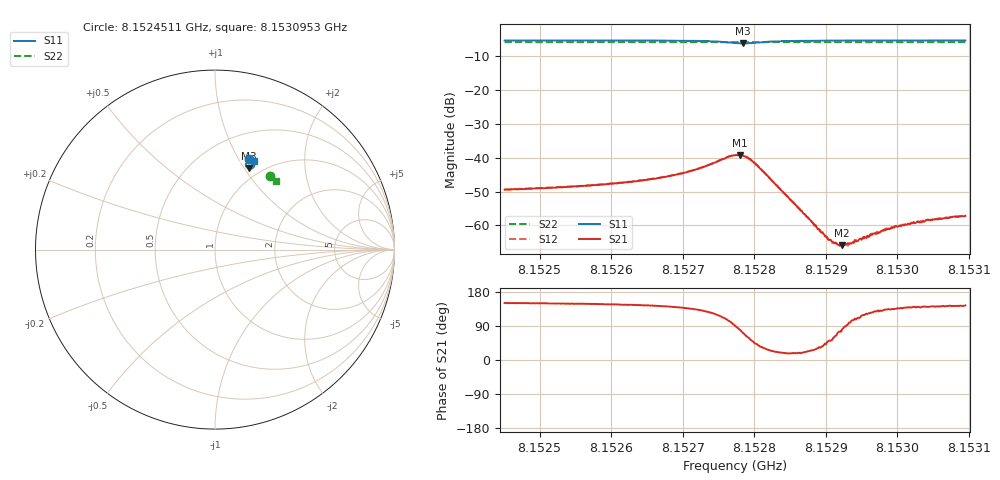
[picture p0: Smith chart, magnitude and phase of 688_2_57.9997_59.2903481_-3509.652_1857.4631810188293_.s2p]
#  HZ  S  RI  R  50.00
! Rohde & Schwarz Vector Network Analyzer
! Rohde-Schwarz,ZNB20-2Port,1311601062101988,3.16
! Created: UTC 3/21/2024, 1:21:09 AM
! freq[Hz]  re:S11  im:S11  re:S21  im:S21  re:S12  im:S12  re:S22  im:S22
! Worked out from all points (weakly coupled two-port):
!   401 points, 8.1524511 GHz to 8.1530953 GHz, reference 50 ohm
!   highest |S21| = -39.20 dB at 8.1527796 GHz (marker M1); lowest = -65.9 dB at 8.1529229 GHz (marker M2)
!   lowest |S11| = -6.2 dB at 8.1527845 GHz (marker M3), VSWR 2.91, Z = 44 + j52.2 ohm
!   |S11| at or under -10 dB: nowhere
!   |S22| runs from -5.9 to -5.8 dB; largest |S21 - S12| = 0.00042
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8.15245109e9  0.1875 0.507  -0.00294 0.00166  -0.00297 0.00174  0.3088 0.4075
8.15255899e9  0.1966 0.5033  -0.00326 0.00201  -0.00325 0.00204  0.3143 0.4031
8.15262502e9  0.2034 0.5  -0.00363 0.00248  -0.00364 0.00251  0.3174 0.4005
8.15266689e9  0.2083 0.4966  -0.00399 0.00304  -0.00399 0.00313  0.3194 0.3986
8.1527152e9  0.2162 0.4881  -0.00457 0.00467  -0.00455 0.00479  0.3219 0.3963
8.15276513e9  0.2133 0.458  -0.00231 0.0103  -0.00213 0.0102  0.3236 0.3933
8.15277318e9  0.2045 0.452  -5.53e-05 0.0109  -3.51e-06 0.011  0.3236 0.3929
8.15277962e9  0.1948 0.4504  0.00192 0.0108  0.00214 0.0107  0.3235 0.3927
8.15278445e9  0.187 0.4519  0.00344 0.0103  0.0036 0.01  0.3235 0.3926
8.15279411e9  0.1752 0.4614  0.00555 0.00787  0.00564 0.00767  0.3237 0.393
8.15280217e9  0.1717 0.4717  0.00594 0.00554  0.00588 0.00533  0.3241 0.3929
8.15283115e9  0.1802 0.4932  0.00366 0.00145  0.00368 0.00136  0.3261 0.3924
8.15288108e9  0.1954 0.4992  0.00101 0.000485  0.00101 0.000471  0.3289 0.3904
8.15290685e9  0.2002 0.4992  0.000386 0.000478  0.000354 0.000456  0.3304 0.3894
8.1529149e9  0.2016 0.4993  0.000232 0.000496  0.000227 0.000484  0.3308 0.3889
8.15292295e9  0.2026 0.499  7.66e-05 0.000502  7.26e-05 0.000547  0.3312 0.3886
8.15293422e9  0.2042 0.4986  -8.37e-05 0.000532  -8.56e-05 0.000541  0.3319 0.3881
8.15295999e9  0.2073 0.4981  -0.000369 0.000568  -0.000365 0.000575  0.333 0.3871
8.15298898e9  0.2105 0.4974  -0.000607 0.000631  -0.000628 0.000691  0.3345 0.3859
8.15304212e9  0.2155 0.4959  -0.000932 0.000785  -0.000921 0.000778  0.337 0.3834
8.15308238e9  0.2187 0.4948  -0.00107 0.000827  -0.00106 0.000837  0.3389 0.3817
8.15309527e9  0.2199 0.4944  -0.00112 0.000814  -0.0011 0.000774  0.3396 0.3812
